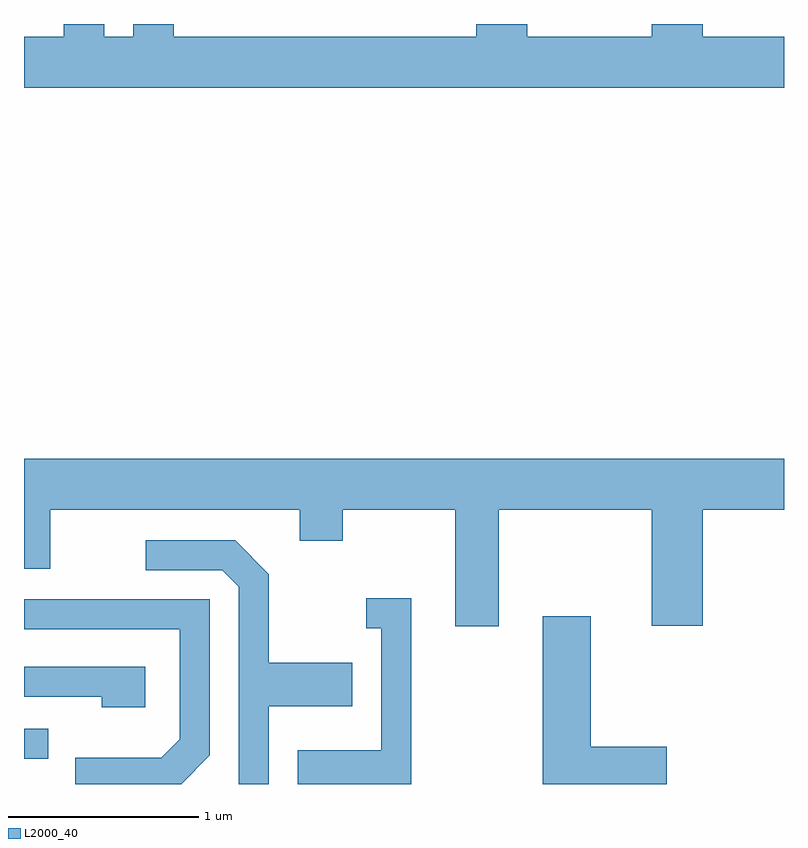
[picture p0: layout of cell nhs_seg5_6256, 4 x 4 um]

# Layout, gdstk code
import gdstk
lib = gdstk.Library(unit=1e-6, precision=1e-09)
def R(c, l, rs):  # rectangles x0, y0, x1, y1
    for r in rs: c.add(gdstk.rectangle(r[:2], r[2:], *l))
def P(c, l, *ps):  # polygons
    for p in ps: c.add(gdstk.Polygon(p, *l))
L2000_40 = (2000, 40)

nhs_seg5_6256 = lib.new_cell('nhs_seg5_6256')
R(nhs_seg5_6256, L2000_40, [(371.611,1402.206,371.738,1402.364)])
P(nhs_seg5_6256, L2000_40, [(375.611,1406.004),(375.184,1406.004),(375.184,1406.072),(374.916,1406.072),(374.916,1406.004),(374.259,1406.004),(374.259,1406.072),(373.991,1406.072),(373.991,1406.004),(372.399,1406.004),(372.399,1406.072),(372.186,1406.072),(372.186,1406.004),(372.034,1406.004),(372.034,1406.072),(371.821,1406.072),(371.821,1406.004),(371.611,1406.004),(371.611,1405.736),(375.611,1405.736)],
  [(374.109,1403.516),(374.916,1403.516),(374.916,1402.906),(375.184,1402.906),(375.184,1403.516),(375.611,1403.516),(375.611,1403.784),(371.611,1403.784),(371.611,1403.206),(371.749,1403.206),(371.749,1403.516),(373.061,1403.516),(373.061,1403.351),(373.289,1403.351),(373.289,1403.516),(373.881,1403.516),(373.881,1402.901),(374.109,1402.901)],
  [(372.899,1402.481),(373.339,1402.481),(373.339,1402.709),(372.899,1402.709),(372.899,1403.177),(372.722,1403.354),(372.253,1403.354),(372.253,1403.196),(372.654,1403.196),(372.741,1403.109),(372.741,1402.072),(372.899,1402.072)],
  [(373.649,1403.049),(373.413,1403.049),(373.413,1402.891),(373.491,1402.891),(373.491,1402.249),(373.051,1402.249),(373.051,1402.072),(373.649,1402.072)],
  [(372.589,1402.224),(372.589,1403.044),(371.611,1403.044),(371.611,1402.886),(372.431,1402.886),(372.431,1402.307),(372.334,1402.209),(371.881,1402.209),(371.881,1402.072),(372.438,1402.072)],
  [(374.994,1402.269),(374.594,1402.269),(374.594,1402.954),(374.341,1402.954),(374.341,1402.072),(374.994,1402.072)],
  [(372.249,1402.689),(371.611,1402.689),(371.611,1402.531),(372.021,1402.531),(372.021,1402.476),(372.249,1402.476)])

lib.write_gds('nhs_seg5_6256.gds')
